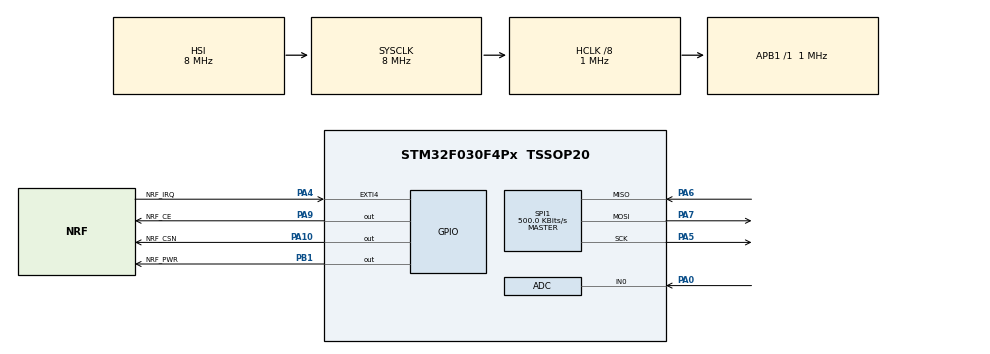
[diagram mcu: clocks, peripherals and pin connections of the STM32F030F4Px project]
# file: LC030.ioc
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Mcu.Family=STM32F0
PA6.Mode=Full_Duplex_Master
PA7.Mode=Full_Duplex_Master
RTC.Alarm=RTC_ALARM_A
SPI1.VirtualType=VM_MASTER
PA9.GPIO_Label=NRF_CE
RTC.AlarmMaskDateWeekDay=RTC_ALARMMASK_DATEWEEKDAY
VP_ADC_Vref_Input.Mode=IN-Vrefint
VP_RTC_VS_RTC_Activate.Mode=RTC_Enabled
RTC.Minutes_A=1
VP_RTC_VS_RTC_Alarm_A_Intern.Mode=Alarm A
ProjectManager.StackSize=0x400
NVIC.RTC_IRQn=true\:0\:0\:false\:false\:true\:true\:true
PA13.Signal=SYS_SWDIO
ProjectManager.TargetToolchain=SW4STM32
SPI1.Direction=SPI_DIRECTION_2LINES
RCC.HCLKFreq_Value=1000000
PA9.Signal=GPIO_Output
PA4.GPIO_ModeDefaultEXTI=GPIO_MODE_IT_FALLING
SPI1.CalculateBaudRate=500.0 KBits/s
RTC.Format=RTC_FORMAT_BCD
RCC.AHBFreq_Value=1000000
PA5.Signal=SPI1_SCK
RTC.Minutes=0
board=custom
RCC.PLLMUL=RCC_PLL_MUL4
SPI1.CRCCalculation=SPI_CRCCALCULATION_DISABLE
SPI1.Mode=SPI_MODE_MASTER
PA14.Mode=Serial_Wire
PB1.GPIO_Label=NRF_PWR
SPI1.DataSize=SPI_DATASIZE_8BIT
PA0.Mode=IN0
PA10.GPIO_Label=NRF_CSN
RCC.AHBCLKDivider=RCC_SYSCLK_DIV8
PA13.Mode=Serial_Wire
Mcu.Name=STM32F030F4Px
SPI1.NSSPMode=SPI_NSS_PULSE_DISABLE
PA0.Signal=ADC_IN0
RTC.AlarmMaskHours=RTC_ALARMMASK_HOURS
PA4.Signal=GPXTI4
RCC.SYSCLKFreq_VALUE=8000000
RTC.Hours=0
Mcu.Package=TSSOP20
PB1.Signal=GPIO_Output
PA6.Signal=SPI1_MISO
PA10.Signal=GPIO_Output
PA14.Signal=SYS_SWCLK
VP_RTC_VS_RTC_Calendar.Mode=RTC_Calendar
ProjectManager.HeapSize=0x200
RCC.APB1TimFreq_Value=1000000
RCC.APB1Freq_Value=1000000
SPI1.BaudRatePrescaler=SPI_BAUDRATEPRESCALER_2
PA4.GPIO_Label=NRF_IRQ
RTC.Seconds_A=0
PA7.Signal=SPI1_MOSI
PA5.Mode=Full_Duplex_Master

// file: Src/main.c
/* USER CODE BEGIN Header */
/**
  ******************************************************************************
  * @file           : main.c
  * @brief          : Main program body
  ******************************************************************************
  * @attention
  *
  * <h2><center>&copy; Copyright (c) 2020 STMicroelectronics.
  * All rights reserved.</center></h2>
  *
  * This software component is licensed by ST under BSD 3-Clause license,
  * the "License"; You may not use this file except in compliance with the
  * License. You may obtain a copy of the License at:
  *                        opensource.org/licenses/BSD-3-Clause
  *
  ******************************************************************************
  */
/* USER CODE END Header */
#include "main.h"
#include "adc.h"
#include "rtc.h"
#include "spi.h"
#include "gpio.h"

/* USER CODE BEGIN Includes */
#include "ee.h"
#include "nrf24l01.h"
/* USER CODE END Includes */

/* USER CODE BEGIN PD */
#define VREFINT_CAL_ADDR 0x1FFFF7BA
/* USER CODE END PD */

/* USER CODE BEGIN PV */
static uint8_t *Unique_ID = (uint8_t *) UID_BASE;
static uint16_t *vrefint_cal = (uint16_t *) VREFINT_CAL_ADDR;

uint16_t water = 0;
uint16_t voltage = 0;
static uint8_t battery[2] = {0,};
uint8_t nrf_data[32] = {0,};

//        === NRF Setup ===
//        const uint64_t pipe0 = 0x7878787878LL;
const uint64_t pipe1 = 0xF0F0F0F0A1LL;
//        const uint64_t pipe2 = 0xF0F0F0F0B1LL;
//        const uint64_t pipe3 = 0xF0F0F0F0C1LL;
//        const uint64_t pipe4 = 0xF0F0F0F0D1LL;
//        const uint64_t pipe5 = 0xF0F0F0F0E1LL;

/* USER CODE END PV */

void SystemClock_Config(void);

int main(void)
{

  /* MCU Configuration--------------------------------------------------------*/

  /* Reset of all peripherals, Initializes the Flash interface and the Systick. */
  HAL_Init();

  /* Configure the system clock */
  SystemClock_Config();

  /* Initialize all configured peripherals */
  MX_GPIO_Init();
  MX_ADC_Init();
  MX_SPI1_Init();
  MX_RTC_Init();
  /* USER CODE BEGIN 2 */

    //Clear standby flag
    __HAL_PWR_CLEAR_FLAG(PWR_FLAG_WU);

    // Init EEPROM emulation
    ee_init();

    // Run ADC
    HAL_ADCEx_Calibration_Start(&hadc);
    HAL_ADC_Start(&hadc);
    HAL_ADC_PollForConversion(&hadc, 100);
    water = HAL_ADC_GetValue(&hadc);
    HAL_ADC_Start(&hadc);
    HAL_ADC_PollForConversion(&hadc, 100);
    voltage = 3300 * (*vrefint_cal) / HAL_ADC_GetValue(&hadc);
    HAL_ADC_Stop(&hadc);

    ee_read(0, 1, &battery[0]);

    battery[1] = voltage / 100;

    if (water > 200 || battery[1] < battery[0]) {
        ee_format(false);
        ee_write(0, 1, &battery[1]);
        HAL_GPIO_WritePin(NRF_PWR_GPIO_Port, NRF_PWR_Pin, GPIO_PIN_SET);
        while (!isChipConnected());
        NRF_Init();
        setDataRate(RF24_250KBPS);
        setChannel(76);
        openWritingPipe(pipe1);
        maskIRQ(true, true, true);

        // Add message
        memcpy(nrf_data, Unique_ID, 12);
        nrf_data[12] = water >> 8;
        nrf_data[13] = water & 0xff;
        nrf_data[14] = voltage >> 8;
        nrf_data[15] = voltage & 0xff;

        for (uint8_t i = 0; i < 5; i++) {
            write(&nrf_data, 32);
            HAL_Delay(1000);
        }
    }
    HAL_PWR_EnterSTANDBYMode();

  /* USER CODE END 2 */

  /* Infinite loop */
  /* USER CODE BEGIN WHILE */
    while (1) {
        HAL_PWR_EnterSTANDBYMode();
    /* USER CODE END WHILE */

    }
}

void SystemClock_Config(void)
{
  RCC_OscInitTypeDef RCC_OscInitStruct = {0};
  RCC_ClkInitTypeDef RCC_ClkInitStruct = {0};
  RCC_PeriphCLKInitTypeDef PeriphClkInit = {0};

  /** Initializes the RCC Oscillators according to the specified parameters
  * in the RCC_OscInitTypeDef structure.
  */
  RCC_OscInitStruct.OscillatorType = RCC_OSCILLATORTYPE_HSI|RCC_OSCILLATORTYPE_HSI14
                              |RCC_OSCILLATORTYPE_LSI;
  RCC_OscInitStruct.HSIState = RCC_HSI_ON;
  RCC_OscInitStruct.HSI14State = RCC_HSI14_ON;
  RCC_OscInitStruct.HSICalibrationValue = RCC_HSICALIBRATION_DEFAULT;
  RCC_OscInitStruct.HSI14CalibrationValue = 16;
  RCC_OscInitStruct.LSIState = RCC_LSI_ON;
  RCC_OscInitStruct.PLL.PLLState = RCC_PLL_NONE;
  if (HAL_RCC_OscConfig(&RCC_OscInitStruct) != HAL_OK)
  {
    Error_Handler();
  }
  /** Initializes the CPU, AHB and APB buses clocks
  */
  RCC_ClkInitStruct.ClockType = RCC_CLOCKTYPE_HCLK|RCC_CLOCKTYPE_SYSCLK
                              |RCC_CLOCKTYPE_PCLK1;
  RCC_ClkInitStruct.SYSCLKSource = RCC_SYSCLKSOURCE_HSI;
  RCC_ClkInitStruct.AHBCLKDivider = RCC_SYSCLK_DIV8;
  RCC_ClkInitStruct.APB1CLKDivider = RCC_HCLK_DIV1;

  if (HAL_RCC_ClockConfig(&RCC_ClkInitStruct, FLASH_LATENCY_0) != HAL_OK)
  {
    Error_Handler();
  }
  PeriphClkInit.PeriphClockSelection = RCC_PERIPHCLK_RTC;
  PeriphClkInit.RTCClockSelection = RCC_RTCCLKSOURCE_LSI;
  if (HAL_RCCEx_PeriphCLKConfig(&PeriphClkInit) != HAL_OK)
  {
    Error_Handler();
  }
}

void Error_Handler(void)
{
}

/************************ (C) COPYRIGHT STMicroelectronics *****END OF FILE****/
